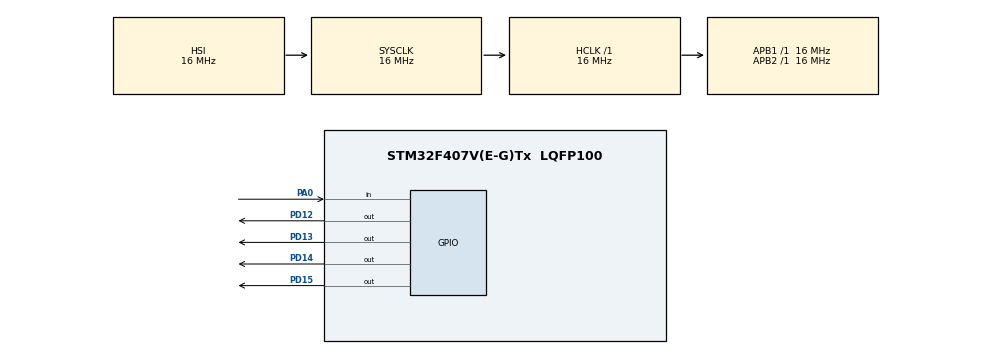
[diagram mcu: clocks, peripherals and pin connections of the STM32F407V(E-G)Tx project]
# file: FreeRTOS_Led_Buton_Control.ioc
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FREERTOS.Tasks01=Button,2,128,ButtonControlTask,Default,NULL,Dynamic,NULL,NULL;Led,2,128,LedControlTask,Default,NULL,Dynamic,NULL,NULL
Mcu.Family=STM32F4
Mcu.Name=STM32F407V(E-G)Tx
Mcu.Package=LQFP100
NVIC.PriorityGroup=NVIC_PRIORITYGROUP_4
PA0-WKUP.Signal=GPIO_Input
PA13.Mode=Serial_Wire
PA13.Signal=SYS_JTMS-SWDIO
PA14.Mode=Serial_Wire
PA14.Signal=SYS_JTCK-SWCLK
PD12.Signal=GPIO_Output
PD13.Signal=GPIO_Output
PD14.Signal=GPIO_Output
PD15.Signal=GPIO_Output
ProjectManager.HeapSize=0x200
ProjectManager.StackSize=0x400
ProjectManager.TargetToolchain=STM32CubeIDE
RCC.48MHZClocksFreq_Value=48000000
RCC.AHBFreq_Value=16000000
RCC.APB1Freq_Value=16000000
RCC.APB1TimFreq_Value=16000000
RCC.APB2Freq_Value=16000000
RCC.APB2TimFreq_Value=16000000
RCC.CortexFreq_Value=16000000
RCC.HCLKFreq_Value=16000000
RCC.HSE_VALUE=25000000
RCC.HSI_VALUE=16000000
RCC.LSE_VALUE=32768
RCC.SYSCLKFreq_VALUE=16000000
RCC.VCOOutputFreq_Value=192000000
VP_FREERTOS_VS_CMSIS_V1.Mode=CMSIS_V1
board=custom

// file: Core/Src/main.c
/* USER CODE BEGIN Header */
/**
  ******************************************************************************
  * @file           : main.c
  * @brief          : Main program body
  ******************************************************************************
  * @attention
  *
  * Copyright (c) 2023 STMicroelectronics.
  * All rights reserved.
  *
  * This software is licensed under terms that can be found in the LICENSE file
  * in the root directory of this software component.
  * If no LICENSE file comes with this software, it is provided AS-IS.
  *
  ******************************************************************************
  */
/* USER CODE END Header */
#include "main.h"
#include "cmsis_os.h"

osThreadId ButtonHandle;
osThreadId LedHandle;
/* USER CODE BEGIN PV */

uint8_t buttonCount=0;

/* USER CODE END PV */

void SystemClock_Config(void);
static void MX_GPIO_Init(void);
void ButtonControlTask(void const * argument);
void LedControlTask(void const * argument);

int main(void)
{

  /* MCU Configuration--------------------------------------------------------*/

  /* Reset of all peripherals, Initializes the Flash interface and the Systick. */
  HAL_Init();

  /* Configure the system clock */
  SystemClock_Config();

  /* Initialize all configured peripherals */
  MX_GPIO_Init();

  /* Create the thread(s) */
  /* definition and creation of Button */
  osThreadDef(Button, ButtonControlTask, osPriorityHigh, 0, 128);
  ButtonHandle = osThreadCreate(osThread(Button), NULL);

  /* definition and creation of Led */
  osThreadDef(Led, LedControlTask, osPriorityHigh, 0, 128);
  LedHandle = osThreadCreate(osThread(Led), NULL);

  /* Start scheduler */
  osKernelStart();

  /* We should never get here as control is now taken by the scheduler */
  /* Infinite loop */
  while (1)
  {

  }
}

void SystemClock_Config(void)
{
  RCC_OscInitTypeDef RCC_OscInitStruct = {0};
  RCC_ClkInitTypeDef RCC_ClkInitStruct = {0};

  /** Configure the main internal regulator output voltage
  */
  __HAL_RCC_PWR_CLK_ENABLE();
  __HAL_PWR_VOLTAGESCALING_CONFIG(PWR_REGULATOR_VOLTAGE_SCALE1);

  /** Initializes the RCC Oscillators according to the specified parameters
  * in the RCC_OscInitTypeDef structure.
  */
  RCC_OscInitStruct.OscillatorType = RCC_OSCILLATORTYPE_HSI;
  RCC_OscInitStruct.HSIState = RCC_HSI_ON;
  RCC_OscInitStruct.HSICalibrationValue = RCC_HSICALIBRATION_DEFAULT;
  RCC_OscInitStruct.PLL.PLLState = RCC_PLL_NONE;
  if (HAL_RCC_OscConfig(&RCC_OscInitStruct) != HAL_OK)
  {
    Error_Handler();
  }

  /** Initializes the CPU, AHB and APB buses clocks
  */
  RCC_ClkInitStruct.ClockType = RCC_CLOCKTYPE_HCLK|RCC_CLOCKTYPE_SYSCLK
                              |RCC_CLOCKTYPE_PCLK1|RCC_CLOCKTYPE_PCLK2;
  RCC_ClkInitStruct.SYSCLKSource = RCC_SYSCLKSOURCE_HSI;
  RCC_ClkInitStruct.AHBCLKDivider = RCC_SYSCLK_DIV1;
  RCC_ClkInitStruct.APB1CLKDivider = RCC_HCLK_DIV1;
  RCC_ClkInitStruct.APB2CLKDivider = RCC_HCLK_DIV1;

  if (HAL_RCC_ClockConfig(&RCC_ClkInitStruct, FLASH_LATENCY_0) != HAL_OK)
  {
    Error_Handler();
  }
}

static void MX_GPIO_Init(void)
{
  GPIO_InitTypeDef GPIO_InitStruct = {0};

  /* GPIO Ports Clock Enable */
  __HAL_RCC_GPIOA_CLK_ENABLE();
  __HAL_RCC_GPIOD_CLK_ENABLE();

  /*Configure GPIO pin Output Level */
  HAL_GPIO_WritePin(GPIOD, GPIO_PIN_12|GPIO_PIN_13|GPIO_PIN_14|GPIO_PIN_15, GPIO_PIN_RESET);

  /*Configure GPIO pin : PA0 */
  GPIO_InitStruct.Pin = GPIO_PIN_0;
  GPIO_InitStruct.Mode = GPIO_MODE_INPUT;
  GPIO_InitStruct.Pull = GPIO_NOPULL;
  HAL_GPIO_Init(GPIOA, &GPIO_InitStruct);

  /*Configure GPIO pins : PD12 PD13 PD14 PD15 */
  GPIO_InitStruct.Pin = GPIO_PIN_12|GPIO_PIN_13|GPIO_PIN_14|GPIO_PIN_15;
  GPIO_InitStruct.Mode = GPIO_MODE_OUTPUT_PP;
  GPIO_InitStruct.Pull = GPIO_NOPULL;
  GPIO_InitStruct.Speed = GPIO_SPEED_FREQ_LOW;
  HAL_GPIO_Init(GPIOD, &GPIO_InitStruct);

}

void ButtonControlTask(void const * argument)
{
  /* USER CODE BEGIN 5 */
  /* Infinite loop */
  for(;;)
  {
	  if(HAL_GPIO_ReadPin(GPIOA, GPIO_PIN_0))
	  {
		  while(HAL_GPIO_ReadPin(GPIOA, GPIO_PIN_0));
		  ++buttonCount;
		  osDelay(300);
	  }
  }
  /* USER CODE END 5 */
}

void LedControlTask(void const * argument)
{
  /* USER CODE BEGIN LedControlTask */
  /* Infinite loop */
  for(;;)
  {
	  if(buttonCount%5==0)
	  {
		  HAL_GPIO_WritePin(GPIOD, GPIO_PIN_12 | GPIO_PIN_13 | GPIO_PIN_14 | GPIO_PIN_15, GPIO_PIN_RESET);

	  }
	  else if(buttonCount%5==1)
	  {
		HAL_GPIO_TogglePin(GPIOD, GPIO_PIN_12 | GPIO_PIN_13 | GPIO_PIN_14 | GPIO_PIN_15);
		osDelay(1000);
	  }
	  else if(buttonCount%5==2)
	  {
	  	HAL_GPIO_TogglePin(GPIOD, GPIO_PIN_12 | GPIO_PIN_13 | GPIO_PIN_14 | GPIO_PIN_15);
	  	osDelay(750);
	  }
	  else if(buttonCount%5==3)
	  {
	  	HAL_GPIO_TogglePin(GPIOD, GPIO_PIN_12 | GPIO_PIN_13 | GPIO_PIN_14 | GPIO_PIN_15);
	  	osDelay(500);
	  }
	  else if(buttonCount%5==4)
	  {
	  	HAL_GPIO_TogglePin(GPIOD, GPIO_PIN_12 | GPIO_PIN_13 | GPIO_PIN_14 | GPIO_PIN_15);
	  	osDelay(250);
	  }
  }
  /* USER CODE END LedControlTask */
}

void Error_Handler(void)
{
  __disable_irq();
  while (1)
  {
  }
}
